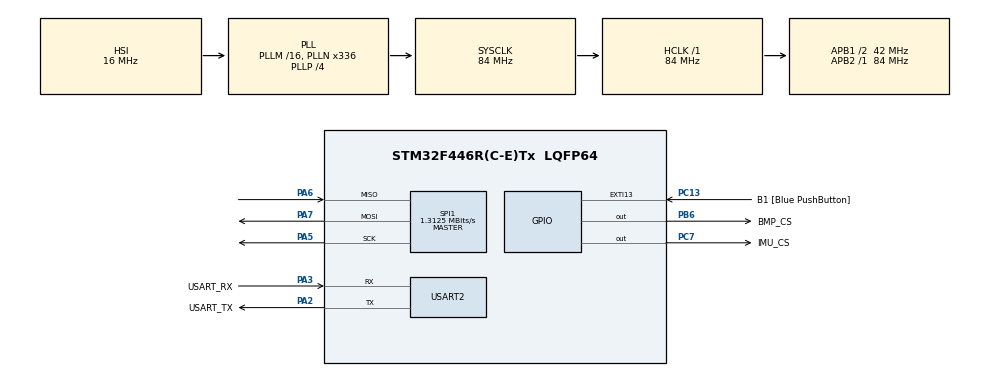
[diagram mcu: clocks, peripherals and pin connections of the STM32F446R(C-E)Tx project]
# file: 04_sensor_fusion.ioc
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Mcu.Family=STM32F4
Mcu.Name=STM32F446R(C-E)Tx
Mcu.Package=LQFP64
NVIC.PriorityGroup=NVIC_PRIORITYGROUP_0
NVIC.TIM2_IRQn=true\:0\:0\:false\:false\:true\:true\:true\:true
PA13.GPIO_Label=TMS
PA13.Mode=Serial_Wire
PA13.Signal=SYS_JTMS-SWDIO
PA14.GPIO_Label=TCK
PA14.Mode=Serial_Wire
PA14.Signal=SYS_JTCK-SWCLK
PA2.GPIO_Label=USART_TX
PA2.Mode=Asynchronous
PA2.Signal=USART2_TX
PA3.GPIO_Label=USART_RX
PA3.Mode=Asynchronous
PA3.Signal=USART2_RX
PA5.Mode=Full_Duplex_Master
PA5.Signal=SPI1_SCK
PA6.Mode=Full_Duplex_Master
PA6.Signal=SPI1_MISO
PA7.Mode=Full_Duplex_Master
PA7.Signal=SPI1_MOSI
PB3.GPIO_Label=SWO
PB3.Signal=SYS_JTDO-SWO
PB6.GPIO_Label=BMP_CS
PB6.PinState=GPIO_PIN_SET
PB6.Signal=GPIO_Output
PC13.GPIO_Label=B1 [Blue PushButton]
PC13.GPIO_ModeDefaultEXTI=GPIO_MODE_IT_FALLING
PC13.Signal=GPXTI13
PC14-OSC32_IN.Mode=LSE-External-Oscillator
PC14-OSC32_IN.Signal=RCC_OSC32_IN
PC15-OSC32_OUT.Mode=LSE-External-Oscillator
PC15-OSC32_OUT.Signal=RCC_OSC32_OUT
PC7.GPIO_Label=IMU_CS
PC7.PinState=GPIO_PIN_SET
PC7.Signal=GPIO_Output
PH0-OSC_IN.Mode=HSE-External-Oscillator
PH0-OSC_IN.Signal=RCC_OSC_IN
PH1-OSC_OUT.Mode=HSE-External-Oscillator
PH1-OSC_OUT.Signal=RCC_OSC_OUT
ProjectManager.HeapSize=0x200
ProjectManager.StackSize=0x400
ProjectManager.TargetToolchain=CMake
RCC.48MHZClocksFreq_Value=84000000
RCC.AHBFreq_Value=84000000
RCC.APB1CLKDivider=RCC_HCLK_DIV2
RCC.APB1Freq_Value=42000000
RCC.APB1TimFreq_Value=84000000
RCC.APB2Freq_Value=84000000
RCC.APB2TimFreq_Value=84000000
RCC.CortexFreq_Value=84000000
RCC.FLatency-AdvancedSettings=FLASH_LATENCY_2
RCC.HCLKFreq_Value=84000000
RCC.HSE_VALUE=8000000
RCC.HSI_VALUE=16000000
RCC.PLLN=336
RCC.PLLP=RCC_PLLP_DIV4
RCC.SYSCLKFreq_VALUE=84000000
RCC.SYSCLKSource=RCC_SYSCLKSOURCE_PLLCLK
RCC.USBFreq_Value=168000000
RCC.VCOOutputFreq_Value=336000000
SPI1.BaudRatePrescaler=SPI_BAUDRATEPRESCALER_64
SPI1.CLKPhase=SPI_PHASE_2EDGE
SPI1.CLKPolarity=SPI_POLARITY_HIGH
SPI1.CalculateBaudRate=1.3125 MBits/s
SPI1.Direction=SPI_DIRECTION_2LINES
SPI1.Mode=SPI_MODE_MASTER
SPI1.VirtualType=VM_MASTER
TIM2.Period=49
TIM2.Prescaler=8399
USART2.VirtualMode=VM_ASYNC
VP_TIM2_VS_ClockSourceINT.Mode=Internal
board=NUCLEO-F446RE

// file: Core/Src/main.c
/* USER CODE BEGIN Header */
/**
  ******************************************************************************
  * @file           : main.c
  * @brief          : Main program body
  ******************************************************************************
  * @attention
  *
  * Copyright (c) 2026 STMicroelectronics.
  * All rights reserved.
  *
  * This software is licensed under terms that can be found in the LICENSE file
  * in the root directory of this software component.
  * If no LICENSE file comes with this software, it is provided AS-IS.
  *
  ******************************************************************************
  */
/* USER CODE END Header */
#include "main.h"
#include "stm32f4xx_hal.h"
#include "stm32f4xx_hal_tim.h"

/* USER CODE BEGIN Includes */
#include <stdint.h>
#include <stdio.h>
#include <math.h>
/* USER CODE END Includes */

/* USER CODE BEGIN PTD */
typedef struct {
  float w, x, y, z;
} Quaternion;

typedef struct {
    uint16_t dig_T1;
    int16_t dig_T2;
    int16_t dig_T3;
    uint16_t dig_P1;
    int16_t dig_P2;
    int16_t dig_P3;
    int16_t dig_P4;
    int16_t dig_P5;
    int16_t dig_P6;
    int16_t dig_P7;
    int16_t dig_P8;
    int16_t dig_P9;
} BMP280_Calib;

typedef enum {
  FLIGHT_PAD = 0,
  FLIGHT_BOOST,
  FLIGHT_COAST,
  FLIGHT_DESCENT,
} FlightState;
/* USER CODE END PTD */

/* USER CODE BEGIN PD */
#define ISM_WHO_AM_I  0x0F
#define ISM_CTRL1_XL  0x10 // Accelerometer Control: 0DR + full-scale
#define ISM_CTRL2_G   0x11 // Gyroscope Control: 0DR + full-scale
#define ISM_OUTX_L_G  0x22 // Gyroscope X-axis output, low byte (data block starts here)
#define ISM_OUTX_L_A  0x28 // Accelerometer X-axis output, low byte (data block starts here)
#define ACCEL_SENS_8G 0.244f // milli g's per count (+-8g range)
#define GYRO_SENS_1000DPS 35.0f // milli dps per count (+-1000 dps range)
#define GRAVITY 9.80665f // m/s^2
#define LAUNCH_ACCEL_THRESH 15.0f // m/s^2, well above noise. replace with expected launch accel from Open Rocket
#define BURNOUT_ACCEL_THRESH 5.0f // m/s^2, thrust gone
#define APOGEE_VEL_THRESH -2.0f // m/s, definitively descending
#define DEBOUNCE_PASSES 20 // 20 passes at 200 Hz = 100ms
#define SIM_MODE 0  // 1 = synthetic flight profile, 0 = real sensors
#define KF_ACCEL_NOISE 0.15f // m/s^2, accelerometer noise std dev
#define KF_BIAS_WALK  0.005f  // m/s^2 per sqrt(s), how fast bias drifts
#define KF_BARO_NOISE  0.40f  // m, barometer noise std dev (I measured this)
/* USER CODE END PD */

SPI_HandleTypeDef hspi1;

TIM_HandleTypeDef htim2;

UART_HandleTypeDef huart2;

/* USER CODE BEGIN PV */
volatile uint8_t tick_ready = 0;

BMP280_Calib calib; // Structure to hold calibration data
int32_t t_fine; // Variable to hold the fine temperature value for compensation

float p0; // Pressure at ground
/* USER CODE END PV */

void SystemClock_Config(void);
static void MX_GPIO_Init(void);
static void MX_USART2_UART_Init(void);
static void MX_SPI1_Init(void);
static void MX_TIM2_Init(void);
/* USER CODE BEGIN PFP */

// IMU & Orientation Functions
uint8_t IMU_ReadRegister(uint8_t reg);
void IMU_WriteRegister(uint8_t reg, uint8_t value);
void IMU_ReadRegisters(uint8_t reg, uint8_t *buffer, uint8_t len);

Quaternion quat_multiply(Quaternion a, Quaternion b);
Quaternion quat_conjugate(Quaternion q);
Quaternion quat_normalize(Quaternion q);
void quat_print(const char *label, Quaternion q);

Quaternion quat_integrate(Quaternion q, float wx, float wy, float wz, float dt); // integrate angular velocity into quaternion

void quat_rotate_vector(Quaternion q, float vx, float vy, float vz, float *rx, float *ry, float *rz);

void quat_to_euler(Quaternion q, float *roll, float *pitch, float *yaw);

void attitude_tilt(Quaternion q, float *tilt_deg, float *err_y, float *err_z);

// BMP 280 Functions
uint8_t BMP280_ReadRegister(uint8_t reg); // Function to read a register from the BMP280 sensor

void BMP280ReadRegisters(uint8_t reg, uint8_t *buffer, uint16_t len); // Function to read multiple registers from the BMP280 sensor
void BMP280_ReadCalibration(void); // Function to read calibration data from the BMP280 sensor
void BMP280ReadRaw(int32_t *raw_temp, int32_t *raw_press); // Function to read raw temperature and pressure data from the BMP280 sensor
void BMP280_WriteRegister(uint8_t reg, uint8_t value);
float BMP280CompensateTemp(int32_t raw_temp); // Function to compensate the raw temperature data using calibration data
float BMP280CompensatePress(int32_t raw_press); // Function to compensate the raw pressure data using calibration data

// Altitude Functions
float pressure_to_altitude(float pressure_pa, float p0_pa);

// SIM Functions
#if SIM_MODE
float sim_lin_accel_z(float t);
#endif

/* USER CODE END PFP */

int main(void)
{

  /* MCU Configuration--------------------------------------------------------*/

  /* Reset of all peripherals, Initializes the Flash interface and the Systick. */
  HAL_Init();

  /* Configure the system clock */
  SystemClock_Config();

  /* Initialize all configured peripherals */
  MX_GPIO_Init();
  MX_USART2_UART_Init();
  MX_SPI1_Init();
  MX_TIM2_Init();
  /* USER CODE BEGIN 2 */
  // CS rests HIGH (deselected). Overrides CubeMX's startup LOW
  HAL_GPIO_WritePin(IMU_CS_GPIO_Port, IMU_CS_Pin, GPIO_PIN_SET);
  HAL_GPIO_WritePin(BMP_CS_GPIO_Port, BMP_CS_Pin, GPIO_PIN_SET);
  HAL_Delay(10);

  uint8_t who_am_i = IMU_ReadRegister(ISM_WHO_AM_I);
  printf("ISM330DHCX IMU WHO_AM_I: 0x%02X (expected: 0x6B)\r\n", who_am_i);

  uint8_t BMP280_ID = BMP280_ReadRegister(0xD0); // Read the chip ID register
  printf("BMP280 Chip ID: 0x%02X (expected: 0x58)\r\n", BMP280_ID); // Print the chip ID to UART

  BMP280_ReadCalibration();
  printf("dig_T1 = %u  dig_P1 = %u\r\n", calib.dig_T1, calib.dig_P1);

  BMP280_WriteRegister(0xF4, 0x57);  // temp x2, press x16, normal mode
  HAL_Delay(100);

  // Establish ground reference pressure by averaging 32 samples
  float p0_sum = 0.0f;
  for (int i = 0; i < 32; i++) {
    int32_t rt, rp;
    BMP280ReadRaw(&rt, &rp);
    BMP280CompensateTemp(rt);
    float sample = BMP280CompensatePress(rp);
    p0_sum += sample;
    HAL_Delay(50);
  }
  p0 = p0_sum / 32.0f;
  printf("Ground reference P0: %.2f Pa\r\n", p0);

  // Wake accelerometer: 208 Hz 0DR, +-8g
  IMU_WriteRegister(ISM_CTRL1_XL, 0x5C);
  // Wake gyroscope: 208 Hz 0DR, +-1000 dps
  IMU_WriteRegister(ISM_CTRL2_G, 0x58);

  // Read the control registers back to confirm the wake-up took
  printf("CTRL1_XL: 0x%02X (expected 0x5C)\r\n", IMU_ReadRegister(ISM_CTRL1_XL));
  printf("CTRL2_G:  0x%02X (expected 0x58)\r\n", IMU_ReadRegister(ISM_CTRL2_G));

  HAL_TIM_Base_Start_IT(&htim2);

  /* USER CODE END 2 */

  /* Infinite loop */
  /* USER CODE BEGIN WHILE */
  uint8_t accel_buf[6];
  uint8_t gyro_buf[6];

  Quaternion q = {1.0f, 0.0f, 0.0f, 0.0f}; // start at identity (no rotation)
  float bx = 0.0f, by = 0.0f, bz = 0.0f; // estimated gyro bias (rad/s)
  const float DEG2RAD = 3.14159265358979323846f / 180.0f;

  const float Kp = 2.0f; // proportional gain for Mahoney filter (tubing knob)
  const float Ki = 0.01f; // integral gain
  const float TRUST_BAND = 0.10f;  // full trust within +/- this many g of 1.0
  const float TRUST_ZERO = 0.30f;  // zero trust beyond this many g from 1.0

  uint32_t last_tick = HAL_GetTick();
  uint32_t pass_count = 0;
  float altitude = 0.0f;

  // Complimentary filter values for altitude/velocity fusion (OLD)

  //float h = 0.0f; // fused altitude estimate (m above pad)
  //float v = 0.0f; // fused vertical velocity estimate (m/s)
  //const float Kh = 0.30f; // how hard baro pulls the altitude estimate
  //const float Kv = 0.60f; // how hard baro pulls the velocity estimate

  FlightState flight_state = FLIGHT_PAD;
  uint16_t debounce_count = 0;

  // --- Kalman state ---
  float kf_h = 0.0f;   // altitude estimate (m)
  float kf_v = 0.0f;   // velocity estiamte (m/s)
  float kf_b = 0.0f;   // accelerometer bias (m/s^2)

  // Covariance, symmetric 3x3 (six unique terms)
  float p00 = 1.0f,  p01 = 0.0f,  p02 = 0.0f;
  float p11 = 1.0f,  p12 = 0.0f;
  float p22 = 1.0f;

  while (1)
  {
    if (tick_ready) {
      tick_ready = 0;
      pass_count++;

      uint32_t now = HAL_GetTick();
      float dt = (now - last_tick) / 1000.0f; // convert ms to seconds
      last_tick = now;

      if (pass_count % 8 == 0) {       // 200 Hz / 8 = 25 Hz
        int32_t rt, rp;
        BMP280ReadRaw(&rt, &rp);
        BMP280CompensateTemp(rt);
        float press = BMP280CompensatePress(rp);
        altitude = pressure_to_altitude(press, p0);

        // Correction step (25 Hz)
#if !SIM_MODE
        // OLD COMPLIMENTARY FILTER
        // float alt_err = altitude - h;
        // h += Kh * alt_err;
        // v += Kv * alt_err;

        // --- Kalman Update (25 Hz) ---
        {
          float y = altitude - kf_h;
          float S = p00 + KF_BARO_NOISE * KF_BARO_NOISE;
          float k0 = p00 / S;
          float k1 = p01 / S;
          float k2 = p02 / S;

          kf_h += k0 * y;
          kf_v += k1 * y;
          kf_b += k2 * y;

          float m00 = (1.0f - k0) * p00;
          float m01 = (1.0f - k0) * p01;
          float m02 = (1.0f - k0) * p02;
          float m11 = p11 - k1 * p01;
          float m12 = p12 - k1 * p02;
          float m22 = p22 - k2 * p02;

          p00 = m00; p01 = m01; p02 = m02;
          p11 = m11; p12 = m12; p22 = m22;
        }
#endif
      }

      IMU_ReadRegisters(ISM_OUTX_L_G, gyro_buf, 6);
      IMU_ReadRegisters(ISM_OUTX_L_A, accel_buf, 6);

      int16_t ax = (int16_t)(accel_buf[1] << 8 | accel_buf[0]);
      int16_t ay = (int16_t)(accel_buf[3] << 8 | accel_buf[2]);
      int16_t az = (int16_t)(accel_buf[5] << 8 | accel_buf[4]);
      int16_t gx = (int16_t)(gyro_buf[1] << 8 | gyro_buf[0]);
      int16_t gy = (int16_t)(gyro_buf[3] << 8 | gyro_buf[2]);
      int16_t gz = (int16_t)(gyro_buf[5] << 8 | gyro_buf[4]);

      // raw -> dps -> rad/s
      float wx = gx * GYRO_SENS_1000DPS / 1000.0f * DEG2RAD;
      float wy = gy * GYRO_SENS_1000DPS / 1000.0f * DEG2RAD;
      float wz = gz * GYRO_SENS_1000DPS / 1000.0f * DEG2RAD;

      // --- Step 2/3: accel correction ---
      // normalize the accelermoeter vector (we only care about DIRECTION)
      float an = sqrtf((float)ax*ax + (float)ay*ay + (float)az*az);
      float an_g = an * ACCEL_SENS_8G / 1000.0f;  // raw counts -> g

      float g_err = fabsf(an_g - 1.0f); //how far from pure gravity?

      // Trust factor
      float trust;
      if (g_err <= TRUST_BAND) {
        trust = 1.0f;
      } else if (g_err >= TRUST_ZERO) {
        trust = 0.0f;
      } else {
        trust = 1.0f - (g_err - TRUST_BAND) / (TRUST_ZERO - TRUST_BAND);
      }

      if (an > 1e-3f) {
        float max = ax / an, may = ay / an, maz = az / an; // measured gravity direction

        // predicted gravity in body frame = q* applied to world down (0,0,1)
        float px, py, pz;
        quat_rotate_vector(quat_conjugate(q), 0.0f, 0.0f, 1.0f, &px, &py, &pz);

        // error = measured x predicted (cross product)
        float ex = may*pz - maz*py;
        float ey = maz*px - max*pz;
        float ez = max*py - may*px;

        // Accumulate the error into bias
        bx += Ki * trust * ex * dt;
        by += Ki * trust * ey * dt;
        bz += Ki * trust * ez * dt;

        // anti-windup: real gyro bias is tiny (~a few dps). Cap it.
        const float BIAS_MAX = 0.05f;  // rad/s, ~3 dps
        if (bx > BIAS_MAX) bx = BIAS_MAX;
        if (bx < -BIAS_MAX) bx = -BIAS_MAX;
        if (by > BIAS_MAX) by = BIAS_MAX;
        if (by < -BIAS_MAX) by = -BIAS_MAX;
        if (bz > BIAS_MAX) bz = BIAS_MAX;
        if (bz < -BIAS_MAX) bz = -BIAS_MAX;

        // --- Step 4: feed error back into the gyro rate ---
        wx += Kp * trust * ex;
        wy += Kp * trust * ey;
        wz += Kp * trust * ez;
      }

      wx -= bx;
      wy -= by;
      wz -= bz;

      q = quat_integrate(q, wx, wy, wz, dt);

      // --- world-frame linear acceleration
      // Raw counts --> g (physical units, not the normalized direction)
      // vector the Mahony correction uses
      float ax_g = ax * ACCEL_SENS_8G / 1000.0f;
      float ay_g = ay * ACCEL_SENS_8G / 1000.0f;
      float az_g = az * ACCEL_SENS_8G / 1000.0f;

      // Body --> world (pass q, not its conjugate)
      float wax, way, waz;
      quat_rotate_vector(q, ax_g, ay_g, az_g, &wax, &way, &waz);

      // Remove gravity: world down is +Z, so a stationary sensor reads +1g
      float lin_accel_z = (waz - 1.0f) * GRAVITY;   // m/s^2

// SIM MODE LIN Z
#if SIM_MODE
      static float sim_t = 0.0f;
      sim_t += dt;
      lin_accel_z = sim_lin_accel_z(sim_t);
#endif

      // Vertical channel, predict step (200 Hz) (OLD COMPLIMENTARY FILER)
      // h += v * dt + 0.5f * lin_accel_z * dt * dt;
      // v += lin_accel_z * dt;

      // --- Kalman predict (200Hz) ---
      {
        float a = lin_accel_z - kf_b;

        kf_h += kf_v * dt + 0.5f * a *dt * dt;
        kf_v += a * dt;

        float c = -0.5f * dt * dt;
        float d = -dt;

        float f00 = p00 + dt*p01 + c*p02;
        float f01 = p01 + dt*p11 + c*p12;
        float f02 = p02 + dt*p12 + c*p22;
        float f10 = p01 + d*p02;
        float f11 = p11 + d*p12;
        float f12 = p12 + d*p22;
        float f22 = p22;

        float n00 = f00 + dt*f01 + c*f02;
        float n01 = f01 + d*f02;
        float n02 = f02;
        float n11 = f11 + d*f12;
        float n12 = f12;
        float n22 = f22;

        float sa2 = KF_ACCEL_NOISE * KF_ACCEL_NOISE;
        float dt2 = dt * dt;
        n00 += sa2 * dt2 * dt2 * 0.25f;
        n01 += sa2 * dt2 * dt * 0.5f;
        n11 += sa2 * dt2;
        n22 += KF_BIAS_WALK * KF_BIAS_WALK * dt;

        p00 = n00; p01 = n01; p02 = n02;
        p11 = n11; p12 = n12; p22 = n22;
      }

      // -- Flight State Machine --
      switch (flight_state) {

        case FLIGHT_PAD:
          if (lin_accel_z > LAUNCH_ACCEL_THRESH) {
            debounce_count++;
            if (debounce_count >= DEBOUNCE_PASSES) {
              flight_state = FLIGHT_BOOST;
              debounce_count = 0;
              printf("*** LAUNCH DETECTED ***\r\n");
            }
          } else {
            debounce_count = 0;
          }
          break;

        case FLIGHT_BOOST:
          if (lin_accel_z < BURNOUT_ACCEL_THRESH && kf_v > 0.0f) {
            debounce_count++;
            if (debounce_count >= DEBOUNCE_PASSES) {
              flight_state = FLIGHT_COAST;
              debounce_count = 0;
              printf("*** BURNOUT  v=%.1f m/s  h=%.1f m ***\r\n", kf_v, kf_h);
            }
          } else {
            debounce_count = 0;
          }
          break;

        case FLIGHT_COAST:
          if (kf_v < APOGEE_VEL_THRESH) {
            debounce_count++;
            if (debounce_count >= DEBOUNCE_PASSES) {
              flight_state = FLIGHT_DESCENT;
              debounce_count = 0;
              printf("*** APOGEE  h=%.1f m ***\r\n", kf_h);
            }
          } else {
            debounce_count = 0;
          }
          break;

        case FLIGHT_DESCENT:
          break;
      }

      static const char *state_names[] = {"PAD", "BOOST", "COAST", "DESCENT"};

      // print out the Euler values for us to read
      float roll, pitch, yaw;
      quat_to_euler(q, &roll, &pitch, &yaw);

      if (pass_count % 10 == 0) {    // 200 Hz / 40 = ~5 lines per second
        //printf("R:%7.2f P:%7.2f Y:%7.2f | mag:%4.2fg trust:%4.2f alt:%6.2fm  linZ:%6.2f m/s^2\r\n",
          //roll, pitch, yaw, an_g, trust, altitude, lin_accel_z);
        //printf("alt:%6.2f  h:%6.2f  v:%6.2f m/s  linZ:%6.2f\r\n",
             //altitude, h, v, lin_accel_z);
        //printf("%-7s h:%6.2f v:%6.2f linZ:%6.2f\r\n",
               //state_names[flight_state], h, v, lin_accel_z);
        //printf("%-7s h:%6.2f v:%6.2f b:%5.2f | K:%4.2f linZ:%6.2f\r\n",
              //state_names[flight_state], kf_h, kf_v, kf_b,
              //p00 / (p00 + KF_BARO_NOISE * KF_BARO_NOISE), lin_accel_z);
        float tilt, err_y, err_z;
        attitude_tilt(q, &tilt, &err_y, &err_z);
        printf("%-7s tilt:%6.2f eY:%6.3f eZ:%6.3f | h:%6.2f v:%6.2f\r\n",
                state_names[flight_state], tilt, err_y, err_z, kf_h, kf_v);
      }
    }

    /* USER CODE END WHILE */

  }
}

void SystemClock_Config(void)
{
  RCC_OscInitTypeDef RCC_OscInitStruct = {0};
  RCC_ClkInitTypeDef RCC_ClkInitStruct = {0};

  /** Configure the main internal regulator output voltage
  */
  __HAL_RCC_PWR_CLK_ENABLE();
  __HAL_PWR_VOLTAGESCALING_CONFIG(PWR_REGULATOR_VOLTAGE_SCALE3);

  /** Initializes the RCC Oscillators according to the specified parameters
  * in the RCC_OscInitTypeDef structure.
  */
  RCC_OscInitStruct.OscillatorType = RCC_OSCILLATORTYPE_HSI;
  RCC_OscInitStruct.HSIState = RCC_HSI_ON;
  RCC_OscInitStruct.HSICalibrationValue = RCC_HSICALIBRATION_DEFAULT;
  RCC_OscInitStruct.PLL.PLLState = RCC_PLL_ON;
  RCC_OscInitStruct.PLL.PLLSource = RCC_PLLSOURCE_HSI;
  RCC_OscInitStruct.PLL.PLLM = 16;
  RCC_OscInitStruct.PLL.PLLN = 336;
  RCC_OscInitStruct.PLL.PLLP = RCC_PLLP_DIV4;
  RCC_OscInitStruct.PLL.PLLQ = 2;
  RCC_OscInitStruct.PLL.PLLR = 2;
  if (HAL_RCC_OscConfig(&RCC_OscInitStruct) != HAL_OK)
  {
    Error_Handler();
  }

  /** Initializes the CPU, AHB and APB buses clocks
  */
  RCC_ClkInitStruct.ClockType = RCC_CLOCKTYPE_HCLK|RCC_CLOCKTYPE_SYSCLK
                              |RCC_CLOCKTYPE_PCLK1|RCC_CLOCKTYPE_PCLK2;
  RCC_ClkInitStruct.SYSCLKSource = RCC_SYSCLKSOURCE_PLLCLK;
  RCC_ClkInitStruct.AHBCLKDivider = RCC_SYSCLK_DIV1;
  RCC_ClkInitStruct.APB1CLKDivider = RCC_HCLK_DIV2;
  RCC_ClkInitStruct.APB2CLKDivider = RCC_HCLK_DIV1;

  if (HAL_RCC_ClockConfig(&RCC_ClkInitStruct, FLASH_LATENCY_2) != HAL_OK)
  {
    Error_Handler();
  }
}

static void MX_SPI1_Init(void)
{

  /* SPI1 parameter configuration*/
  hspi1.Instance = SPI1;
  hspi1.Init.Mode = SPI_MODE_MASTER;
  hspi1.Init.Direction = SPI_DIRECTION_2LINES;
  hspi1.Init.DataSize = SPI_DATASIZE_8BIT;
  hspi1.Init.CLKPolarity = SPI_POLARITY_HIGH;
  hspi1.Init.CLKPhase = SPI_PHASE_2EDGE;
  hspi1.Init.NSS = SPI_NSS_SOFT;
  hspi1.Init.BaudRatePrescaler = SPI_BAUDRATEPRESCALER_64;
  hspi1.Init.FirstBit = SPI_FIRSTBIT_MSB;
  hspi1.Init.TIMode = SPI_TIMODE_DISABLE;
  hspi1.Init.CRCCalculation = SPI_CRCCALCULATION_DISABLE;
  hspi1.Init.CRCPolynomial = 10;
  if (HAL_SPI_Init(&hspi1) != HAL_OK)
  {
    Error_Handler();
  }

}

static void MX_TIM2_Init(void)
{

  TIM_ClockConfigTypeDef sClockSourceConfig = {0};
  TIM_MasterConfigTypeDef sMasterConfig = {0};

  htim2.Instance = TIM2;
  htim2.Init.Prescaler = 8399;
  htim2.Init.CounterMode = TIM_COUNTERMODE_UP;
  htim2.Init.Period = 49;
  htim2.Init.ClockDivision = TIM_CLOCKDIVISION_DIV1;
  htim2.Init.AutoReloadPreload = TIM_AUTORELOAD_PRELOAD_DISABLE;
  if (HAL_TIM_Base_Init(&htim2) != HAL_OK)
  {
    Error_Handler();
  }
  sClockSourceConfig.ClockSource = TIM_CLOCKSOURCE_INTERNAL;
  if (HAL_TIM_ConfigClockSource(&htim2, &sClockSourceConfig) != HAL_OK)
  {
    Error_Handler();
  }
  sMasterConfig.MasterOutputTrigger = TIM_TRGO_RESET;
  sMasterConfig.MasterSlaveMode = TIM_MASTERSLAVEMODE_DISABLE;
  if (HAL_TIMEx_MasterConfigSynchronization(&htim2, &sMasterConfig) != HAL_OK)
  {
    Error_Handler();
  }

}

static void MX_USART2_UART_Init(void)
{

  huart2.Instance = USART2;
  huart2.Init.BaudRate = 115200;
  huart2.Init.WordLength = UART_WORDLENGTH_8B;
  huart2.Init.StopBits = UART_STOPBITS_1;
  huart2.Init.Parity = UART_PARITY_NONE;
  huart2.Init.Mode = UART_MODE_TX_RX;
  huart2.Init.HwFlowCtl = UART_HWCONTROL_NONE;
  huart2.Init.OverSampling = UART_OVERSAMPLING_16;
  if (HAL_UART_Init(&huart2) != HAL_OK)
  {
    Error_Handler();
  }

}

static void MX_GPIO_Init(void)
{
  GPIO_InitTypeDef GPIO_InitStruct = {0};

  /* GPIO Ports Clock Enable */
  __HAL_RCC_GPIOC_CLK_ENABLE();
  __HAL_RCC_GPIOH_CLK_ENABLE();
  __HAL_RCC_GPIOA_CLK_ENABLE();
  __HAL_RCC_GPIOB_CLK_ENABLE();

  /*Configure GPIO pin Output Level */
  HAL_GPIO_WritePin(IMU_CS_GPIO_Port, IMU_CS_Pin, GPIO_PIN_SET);

  /*Configure GPIO pin Output Level */
  HAL_GPIO_WritePin(BMP_CS_GPIO_Port, BMP_CS_Pin, GPIO_PIN_SET);

  /*Configure GPIO pin : B1_Pin */
  GPIO_InitStruct.Pin = B1_Pin;
  GPIO_InitStruct.Mode = GPIO_MODE_IT_FALLING;
  GPIO_InitStruct.Pull = GPIO_NOPULL;
  HAL_GPIO_Init(B1_GPIO_Port, &GPIO_InitStruct);

  /*Configure GPIO pin : IMU_CS_Pin */
  GPIO_InitStruct.Pin = IMU_CS_Pin;
  GPIO_InitStruct.Mode = GPIO_MODE_OUTPUT_PP;
  GPIO_InitStruct.Pull = GPIO_NOPULL;
  GPIO_InitStruct.Speed = GPIO_SPEED_FREQ_LOW;
  HAL_GPIO_Init(IMU_CS_GPIO_Port, &GPIO_InitStruct);

  /*Configure GPIO pin : BMP_CS_Pin */
  GPIO_InitStruct.Pin = BMP_CS_Pin;
  GPIO_InitStruct.Mode = GPIO_MODE_OUTPUT_PP;
  GPIO_InitStruct.Pull = GPIO_NOPULL;
  GPIO_InitStruct.Speed = GPIO_SPEED_FREQ_LOW;
  HAL_GPIO_Init(BMP_CS_GPIO_Port, &GPIO_InitStruct);

}

/* USER CODE BEGIN 4 */
int _write(int file, char *ptr, int len)
{
  HAL_UART_Transmit(&huart2, (uint8_t *)ptr, len, HAL_MAX_DELAY);
  return len;
}

void HAL_TIM_PeriodElapsedCallback(TIM_HandleTypeDef *htim)
{
  if (htim->Instance == TIM2) {
    tick_ready = 1;
  }
}

uint8_t IMU_ReadRegister(uint8_t reg)
{
  uint8_t tx[2];
  uint8_t rx[2];

  tx[0] = reg | 0x80; // Address byte, bit 7 set = READ
  tx[1] = 0x00; // Dummy byte to clock the answer back

  HAL_GPIO_WritePin(IMU_CS_GPIO_Port, IMU_CS_Pin,  GPIO_PIN_RESET); // select
  HAL_SPI_TransmitReceive(&hspi1, tx, rx, 2, HAL_MAX_DELAY); // exchange 2 bytes
  HAL_GPIO_WritePin(IMU_CS_GPIO_Port, IMU_CS_Pin, GPIO_PIN_SET); // deselect

  return rx[1]; // The sensors answers landed in the second byte
}

void IMU_WriteRegister(uint8_t reg, uint8_t value)
{
  uint8_t tx[2];
  tx[0] = reg & 0x7F; // bit 7 = 0 -> Write
  tx[1] = value;

  HAL_GPIO_WritePin(IMU_CS_GPIO_Port, IMU_CS_Pin, GPIO_PIN_RESET); // select
  HAL_SPI_Transmit(&hspi1, tx, 2, HAL_MAX_DELAY);
  HAL_GPIO_WritePin(IMU_CS_GPIO_Port, IMU_CS_Pin, GPIO_PIN_SET); // deselect
}

void IMU_ReadRegisters(uint8_t reg, uint8_t *buffer, uint8_t len)
{
  uint8_t addr = reg | 0x80; // bit 7 = 1 -> Read

  HAL_GPIO_WritePin(IMU_CS_GPIO_Port, IMU_CS_Pin, GPIO_PIN_RESET); // select
  HAL_SPI_Transmit(&hspi1, &addr, 1, HAL_MAX_DELAY); // send address
  HAL_SPI_Receive(&hspi1, buffer, len, HAL_MAX_DELAY); // read data
  HAL_GPIO_WritePin(IMU_CS_GPIO_Port, IMU_CS_Pin, GPIO_PIN_SET); // deselect

}

// Quaternion Functions
// Compose two rotations: applies b first, then a.
// Order matters -- quaternion multiplication is not commutative.
Quaternion quat_multiply(Quaternion a, Quaternion b)
{
  Quaternion r;
  r.w = a.w*b.w - a.x*b.x - a.y*b.y - a.z*b.z;
  r.x = a.w*b.x + a.x*b.w + a.y*b.z - a.z*b.y;
  r.y = a.w*b.y - a.x*b.z + a.y*b.w + a.z*b.x;
  r.z = a.w*b.z + a.x*b.y - a.y*b.x + a.z*b.w;
  return r;
}

//Reverse the rotation: same axis, opposite direction.
Quaternion quat_conjugate(Quaternion q)
{
  Quaternion r = {q.w, -q.x, -q.y, -q.z};
  return r;
}

// Resscale to unit length. Re-imposes w^2+x^2+y^2+z^2=1.
Quaternion quat_normalize(Quaternion q)
{
  float n = sqrtf(q.w*q.w + q.x*q.x + q.y*q.y + q.z*q.z);
  if (n < 1e-6f) {
    Quaternion id = {1.0f, 0.0f, 0.0f, 0.0f};
    return id; // Return identity quaternion if input is too small
  }
  Quaternion r = {q.w/n, q.x/n, q.y/n, q.z/n};
  return r;
}

void quat_print(const char *label, Quaternion q)
{
  printf("%-12s w=%7.4f x=%7.4f y=%7.4f z=%7.4f\r\n", label, q.w, q.x, q.y, q.z);
}

//Integrate gyro rates (rad/s) into the orientation quaternion over dt seconds.
// q_new = q + (1/2)(q (x) (o,wx,wy,wz)) * dt, then normalize
Quaternion quat_integrate(Quaternion q, float wx, float wy, float wz, float dt)
{
  Quaternion omega = {0.0f, wx, wy, wz};    // gyro as a pure quaternion
  Quaternion qdot = quat_multiply(q, omega); // quaternion (x) (0, w)

  // scale by 1/2, then by dt, and add to q
  Quaternion q_new;
  q_new.w = q.w + 0.5f * qdot.w * dt;
  q_new.x = q.x + 0.5f * qdot.x * dt;
  q_new.y = q.y + 0.5f * qdot.y * dt;
  q_new.z = q.z + 0.5f * qdot.z * dt;

  return quat_normalize(q_new); // normalize to unit length
}

// Rotate vector v by quaternion q: v' = q (x) (0,v) (x) q*
// Pass q for body -> world, or pass q* for world -> body
void quat_rotate_vector(Quaternion q, float vx, float vy, float vz, float *rx, float *ry, float *rz)
{
  Quaternion v = {0.0f, vx, vy, vz};
  Quaternion qc = quat_conjugate(q);
  Quaternion tmp = quat_multiply(q, v);
  Quaternion res = quat_multiply(tmp, qc);
  *rx = res.x;
  *ry = res.y;
  *rz = res.z;
}

// Convert quaternion to roll/pitch/yaw in degrees (ZYX convention)
// FOR DISPLAY ONLY -- the quaternion remains the authoritative state
// Degenerates near pitch = +/- 90 deg (singularity point in OUTPUT, not the real estimate)
void quat_to_euler(Quaternion q, float *roll, float *pitch, float *yaw)
{
  const float RAD2DEG = 180.0f / 3.14159265f;

  // roll (rotation about X)
  float sinr_cosp = 2.0f * (q.w*q.x + q.y*q.z);
  float cosr_cosp = 1.0f - 2.0f * (q.x*q.x + q.y*q.y);
  *roll = atan2f(sinr_cosp, cosr_cosp) * RAD2DEG;

  // pitch (rotation about Y)
  float sinp = 2.0f * (q.w*q.y - q.z*q.x);
  if (sinp > 1.0f) sinp = 1.0f;    // clamp -- guards asinf against
  if (sinp < -1.0f) sinp = -1.0f;  // domain error from float rounding
  *pitch = asinf(sinp) * RAD2DEG;

  // yaw (rotation about Z)
  float siny_cosp = 2.0f * (q.w*q.z + q.x*q.y);
  float cosy_cosp = 1.0f - 2.0f * (q.y*q.y + q.z*q.z);
  *yaw = atan2f(siny_cosp, cosy_cosp) * RAD2DEG;
}

// Nose attitude relative to vertical
// tilt_deg: total angle of the nose (body +X) away from straigh up. No singularity.
// dir_deg: which way it's leaning, in the world horizontal plane
// nx, ny: horizontal components of the nose vector -- the two control error signals
void attitude_tilt(Quaternion q, float *tilt_deg, float *err_y, float *err_z)
{
  const float RAD2DEG = 180.0f / 3.14159265f;

  // Rotate body +X (out the nose) into the world frame
  float ux, uy, uz;
  quat_rotate_vector(quat_conjugate(q), 0.0f, 0.0f, 1.0f, &ux, &uy, &uz);

  float c = ux;
  if (c >  1.0f) c =  1.0f;
  if (c < -1.0f) c = -1.0f;
  *tilt_deg = acosf(c) * RAD2DEG;

  *err_y = uy;
  *err_z = uz;
}

// ---
// BMP 280 Functions
// ---

uint8_t BMP280_ReadRegister(uint8_t reg)
{
  uint8_t tx[2];
  uint8_t rx[2];

  tx[0] = reg | 0x80; // Address byte, bit 7 set = READ
  tx[1] = 0x00; // Dummy byte to clock the answer back

  HAL_GPIO_WritePin(BMP_CS_GPIO_Port, BMP_CS_Pin,  GPIO_PIN_RESET); // CS Low: Start communication
  HAL_SPI_TransmitReceive(&hspi1, tx, rx, 2, HAL_MAX_DELAY); // exchange 2 bytes
  HAL_GPIO_WritePin(BMP_CS_GPIO_Port, BMP_CS_Pin, GPIO_PIN_SET); // CS High: End communication

  return rx[1]; // The sensors answers landed in the second byte
}

void BMP280ReadRegisters(uint8_t reg, uint8_t *buffer, uint16_t len)
{
  uint8_t addr = reg | 0x80; // Address byte, bit 7 set = READ

  HAL_GPIO_WritePin(BMP_CS_GPIO_Port, BMP_CS_Pin, GPIO_PIN_RESET); // CS Low: Start communication
  HAL_SPI_Transmit(&hspi1, &addr, 1, HAL_MAX_DELAY); // exchange registers
  HAL_SPI_Receive(&hspi1, buffer, len, HAL_MAX_DELAY); // receive data
  HAL_GPIO_WritePin(BMP_CS_GPIO_Port, BMP_CS_Pin, GPIO_PIN_SET); // CS High: End communication
}

void BMP280_ReadCalibration(void)
{
  uint8_t buf[24]; // Buffer to hold calibration data
  BMP280ReadRegisters(0x88, buf, 24); // Read 24 bytes of calibration data starting from register 0x88

  calib.dig_T1 = (uint16_t)((buf[1] << 8) | buf[0]);
  calib.dig_T2 = (int16_t)((buf[3] << 8) | buf[2]);
  calib.dig_T3 = (int16_t)((buf[5] << 8) | buf[4]);
  calib.dig_P1 = (uint16_t)((buf[7] << 8) | buf[6]);
  calib.dig_P2 = (int16_t)((buf[9] << 8) | buf[8]);
  calib.dig_P3 = (int16_t)((buf[11] << 8) | buf[10]);
  calib.dig_P4 = (int16_t)((buf[13] << 8) | buf[12]);
  calib.dig_P5 = (int16_t)((buf[15] << 8) | buf[14]);
  calib.dig_P6 = (int16_t)((buf[17] << 8) | buf[16]);
  calib.dig_P7 = (int16_t)((buf[19] << 8) | buf[18]);
  calib.dig_P8 = (int16_t)((buf[21] << 8) | buf[20]);
  calib.dig_P9 = (int16_t)((buf[23] << 8) | buf[22]);
}

void BMP280ReadRaw(int32_t *raw_temp, int32_t *raw_press)
{
  uint8_t buf[6]; // Buffer to hold raw data
  BMP280ReadRegisters(0xF7, buf, 6); // Read 6 bytes of raw data starting from register 0xF7

  *raw_press = (int32_t)((buf[0] << 12) | (buf[1] << 4) | (buf[2] >> 4)); // Combine bytes to get raw pressure
  *raw_temp = (int32_t)((buf[3] << 12) | (buf[4] << 4) | (buf[5] >> 4)); // Combine bytes to get raw temperature
}

void BMP280_WriteRegister(uint8_t reg, uint8_t value)
{
    uint8_t tx[2];
    tx[0] = reg & 0x7F;   // address byte, bit 7 cleared = WRITE
    tx[1] = value;        // the byte to write into that register

    HAL_GPIO_WritePin(BMP_CS_GPIO_Port, BMP_CS_Pin, GPIO_PIN_RESET);  // CS low
    HAL_SPI_Transmit(&hspi1, tx, 2, HAL_MAX_DELAY);                   // send both bytes
    HAL_GPIO_WritePin(BMP_CS_GPIO_Port, BMP_CS_Pin, GPIO_PIN_SET);    // CS high
}

float BMP280CompensateTemp(int32_t raw_temp)
{
  float var1, var2, T;
  var1 = (((float)raw_temp) / 16384.0f - ((float)calib.dig_T1) / 1024.0f) * ((float)calib.dig_T2);
  var2 = ((((float)raw_temp)/131072.0f - ((float)calib.dig_T1)/8192.0f) *
          (((float)raw_temp)/131072.0f - ((float)calib.dig_T1)/8192.0f)) * ((float)calib.dig_T3);
  t_fine = (int32_t)(var1 + var2);
  T = (var1 + var2) / 5120.0f;
  return T; // Return temperature in degrees Celsius
}

float BMP280CompensatePress(int32_t raw_press)
{
  float var1, var2, p;
  var1 = ((float)t_fine / 2.0f) - 64000.0f;
  var2 = var1 * var1 * ((float)calib.dig_P6) / 32768.0f;
  var2 = var2 + var1 * ((float)calib.dig_P5) * 2.0f;
  var2 = (var2 / 4.0) + (((float)calib.dig_P4) * 65536.0f);
  var1 = (((float)calib.dig_P3) * var1 * var1 / 524288.0f + ((float)calib.dig_P2) * var1) / 524288.0f;
  var1 = (1.0f + var1 / 32768.0f) * ((float)calib.dig_P1);

  if (var1 == 0.0f)
    return 0; // Avoid division by zero

  p = 1048576.0f - (float)raw_press;
  p = (p - (var2 / 4096.0f)) * 6250.0f / var1;
  var1 = ((float)calib.dig_P9) * p * p / 2147483648.0f;
  var2 = p * ((float)calib.dig_P8) / 32768.0f;

  p = p + (var1 + var2 + ((float)calib.dig_P7)) / 16.0f;

  return p; // Return pressure in Pascals
}

// Convert pressure to altitude relative to a ground reference
// Returns meters above the pad. Positive = higher than P0 (lower altitude)
float pressure_to_altitude(float pressure_pa, float p0_pa)
{
  return 44330.0f * (1.0f - powf(pressure_pa / p0_pa, 0.1903f));
}

// Synthetic vertical acceleration
// Returns net acceleration (gravity already removed), matching lin_accel_z
#if SIM_MODE
float sim_lin_accel_z(float t)
{
  if (t < 1.0f) {
    return 0.0f;
  } else if (t < 4.45f) {
    return 34.0f;
  } else {
    return -10.0f;
  }
}
#endif

/* USER CODE END 4 */

void Error_Handler(void)
{
  __disable_irq();
  while (1)
  {
  }
}
